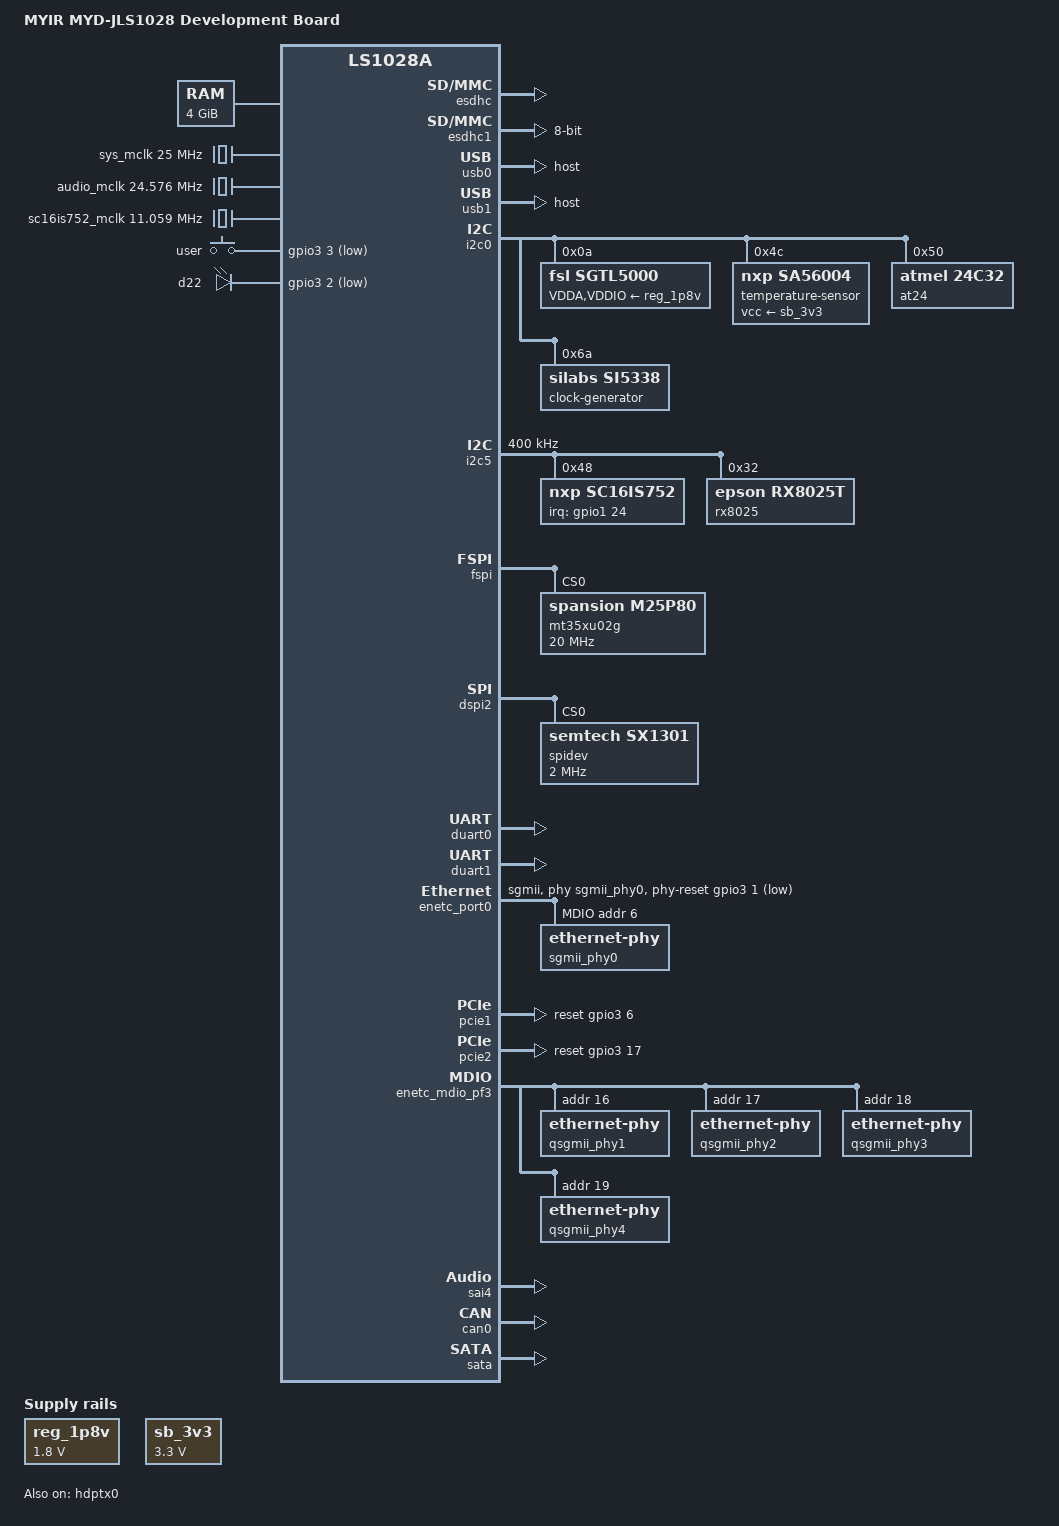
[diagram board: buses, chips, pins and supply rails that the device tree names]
// SPDX-License-Identifier: (GPL-2.0+ OR MIT)
/*
 * Device Tree file for NXP LS1028A RDB Board.
 *
 * Copyright 2018-2019 NXP
 *
 * Harninder Rai <harninder.rai@nxp.com>
 *
 */

/dts-v1/;
#include "fsl-ls1028a.dtsi"
#include <dt-bindings/gpio/gpio.h>
#include <dt-bindings/input/input.h>
/ {
	model = "MYIR MYD-JLS1028 Development Board";
	compatible = "fsl,ls1028a-rdb", "fsl,ls1028a";

	aliases {
		crypto = &crypto;
		serial0 = &duart0;
		serial1 = &duart1;
	};

	chosen {
		stdout-path = "serial0:115200n8";
	};

	memory@80000000 {
		device_type = "memory";
		reg = <0x0 0x80000000 0x1 0x0000000>;
	};

	sys_mclk: clock-mclk {
		compatible = "fixed-clock";
		#clock-cells = <0>;
		clock-frequency = <25000000>;
	};
	audio_mclk: audio-clk {
		compatible = "fixed-clock";
		#clock-cells = <0>;
		clock-frequency = <24576000>;
	};
	sc16is752_mclk: sc16is752-clk {
		compatible = "fixed-clock";
		#clock-cells = <0>;
		clock-frequency = <11059200>;
	};
	reg_1p8v: regulator-1p8v {
		compatible = "regulator-fixed";
		regulator-name = "1P8V";
		regulator-min-microvolt = <1800000>;
		regulator-max-microvolt = <1800000>;
		regulator-always-on;
	};

	sb_3v3: regulator-sb3v3 {
		compatible = "regulator-fixed";
		regulator-name = "3v3_vbus";
		regulator-min-microvolt = <3300000>;
		regulator-max-microvolt = <3300000>;
		regulator-boot-on;
		regulator-always-on;
	};
	gpio_keys: volume_keys@0 {
		compatible = "gpio-keys";
		#address-cells = <1>;
		#size-cells = <0>;
		//autorepeat;

		switch@1 {
			label = "user";
			linux,code = <KEY_1>;
			gpios = <&gpio3 3 GPIO_ACTIVE_LOW>;
			//gpio-key,wakeup;
		};
			
	};

	leds {
		compatible = "gpio-leds";
		led@3 {
			label = "d22";
			gpios = <&gpio3 2 GPIO_ACTIVE_LOW>;	
			default-state = "on";
			linux,default-trigger = "heartbeat";
		};
	};
	sound {
		compatible = "simple-audio-card";
		label = "SGTL5000-MYIR";
		simple-audio-card,format = "i2s";
		simple-audio-card,widgets =
			"Microphone", "Microphone Jack",
			"Headphone", "Headphone Jack",
			"Speaker", "Speaker Ext",
			"Line", "Line In Jack";
		simple-audio-card,routing =
			"MIC_IN", "Microphone Jack",
			"Microphone Jack", "Mic Bias",
			"LINE_IN", "Line In Jack",
			"Headphone Jack", "HP_OUT",
			"Speaker Ext", "LINE_OUT";

		simple-audio-card,cpu {
			sound-dai = <&sai4>;
			frame-master;
			bitclock-master;
		};

		simple-audio-card,codec {
			sound-dai = <&sgtl5000>;
			frame-master;
			bitclock-master;
			system-clock-frequency = <25000000>;
		};
	};

};

&esdhc {
	sd-uhs-sdr104;
	sd-uhs-sdr50;
	sd-uhs-sdr25;
	sd-uhs-sdr12;
	broken-cd;
	status = "okay";
};

&esdhc1 {
	mmc-hs200-1_8v;
	mmc-hs400-1_8v;
	bus-width = <8>;
	status = "okay";
};
&usb0 {
        dr_mode = "host";
//	snps,dis-del-phy-power-chg-quirk;
//	snps,usb2-lpm-disable;
//	snps,dis_u2_susphy_quirk;
	phy-names = "usb3-phy";
	quirk-broken-port-ped;
        //snps,host-vbus-glitches;
};
&usb1 {
	dr_mode = "host";
	snps,dis-del-phy-power-chg-quirk;
	//snps,host-vbus-glitches;
};

&i2c0 {
	status = "okay";
	sgtl5000: audio-codec@a {
		#sound-dai-cells = <0>;
		compatible = "fsl,sgtl5000";
		reg = <0xa>;
		VDDA-supply = <&reg_1p8v>;
		VDDIO-supply = <&reg_1p8v>;
		clocks = <&sys_mclk>;
		sclk-strength = <3>;
		};


	temperature-sensor@4c {
		compatible = "nxp,sa56004";
		reg = <0x4c>;
		vcc-supply = <&sb_3v3>;
	};
	at24@50 {
		compatible = "atmel,24c32";
		pagesize = <34>;
		reg = <0x50>;
		num-addresses = <8>;
	};

	clock-generator@6a {
                 compatible = "silabs,si5338";
                 reg = <0x6a>;
                            
             };
};

&i2c5 {
	status = "okay";
	clock-frequency = <400000>;
	
	sc16is752: sc16is752@48 {
		compatible = "nxp,sc16is752";
		reg = <0x48>;
		clocks = <&sc16is752_mclk>;
		interrupt-parent = <&gpio1>;
		interrupts = <24 IRQ_TYPE_EDGE_FALLING>;

	};	
	rx8025: rx8025@32 {
		compatible = "epson,rx8025t";
		reg = <0x32>;
	};

};


&fspi {
	status = "okay";
	mt35xu02g: flash@0 {
		compatible = "spansion,m25p80";
		#address-cells = <1>;
		#size-cells = <1>;
		m25p,fast-read;
		spi-max-frequency = <20000000>;
		reg = <0>;
		/* The following setting enables 1-1-8 (CMD-ADDR-DATA) mode */
		spi-rx-bus-width = <8>; /* 8 SPI Rx lines */
		spi-tx-bus-width = <1>; /* 1 SPI Tx line */
	};
};

&dspi2 {
        bus-num = <2>;
        status = "okay";

        spidev@0 {
                compatible = "semtech,sx1301";
                reg = <0>;
                spi-max-frequency = <2000000>;
                fsl,spi-cs-sck-delay = <1000000>;
                fsl,spi-sck-cs-delay = <50>;
        };
};

&duart0 {
	status = "okay";
};

&duart1 {
	status = "okay";
};
&enetc_port0 {
	phy-handle = <&sgmii_phy0>;
	phy-connection-type = "sgmii";
	phy-reset-duration = <10>;
        phy-reset-gpios = <&gpio3 1 GPIO_ACTIVE_LOW>;
	//phy-reset-gpios_mac = <&gpio1 27 GPIO_ACTIVE_LOW>;
        phy-reset-post-delay=<20>;
	mdio {
		#address-cells = <1>;
		#size-cells = <0>;
		sgmii_phy0: ethernet-phy@6 {
			reg = <0x6>;
		};
	};
};
&pcie1{
	status = "okay";
	reset-gpio = <&gpio3 6 GPIO_ACTIVE_HIGH>;
};
&pcie2{
	status = "okay";
	reset-gpio = <&gpio3 17 GPIO_ACTIVE_HIGH>;
};
&enetc_port1 {
	status = "disabled";
};

&enetc_mdio_pf3 {
	//phy-reset-duration = <10>;
       // phy-reset-gpios = <&gpio1 27 GPIO_ACTIVE_LOW>; 
        //phy-reset-post-delay=<70>;

	qsgmii_phy1: ethernet-phy@10 {
		reg = <0x10>;
	};

	qsgmii_phy2: ethernet-phy@11 {
		reg = <0x11>;
	};

	qsgmii_phy3: ethernet-phy@12 {
		reg = <0x12>;
	};

	qsgmii_phy4: ethernet-phy@13 {
		reg = <0x13>;
	};
};

/* l2switch ports */
&mscc_felix_ports {
        port@0 {
                status = "okay";
                phy-handle = <&qsgmii_phy1>;
                phy-mode = "qsgmii";
                managed = "in-band-status";
        };

        port@1 {
                status = "okay";
                phy-handle = <&qsgmii_phy2>;
                phy-mode = "qsgmii";
                managed = "in-band-status";
        };

        port@2 {
                status = "okay";
                phy-handle = <&qsgmii_phy3>;
                phy-mode = "qsgmii";
                managed = "in-band-status";
        };

        port@3 {
                status = "okay";
                phy-handle = <&qsgmii_phy4>;
                phy-mode = "qsgmii";
                managed = "in-band-status";
        };
};

&sai4 {
	status = "okay";
};

&can0 {
        status = "okay";
            can-transceiver {
                max-bitrate = <5000000>;
        };
};
&sata {
        status = "okay";
};
&hdptx0 {
	lane-mapping = <0x4e>;
	status = "okay";
};
/*
&dpclk {
    vco-frequency = <1066500000>;
    status = "okay";
};*/
